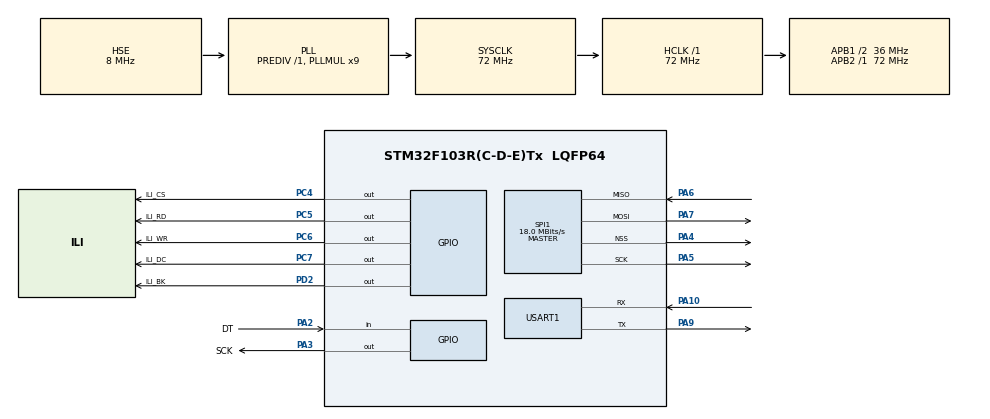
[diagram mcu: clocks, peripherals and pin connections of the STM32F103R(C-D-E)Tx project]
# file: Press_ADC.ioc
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Mcu.Family=STM32F1
Mcu.Name=STM32F103R(C-D-E)Tx
Mcu.Package=LQFP64
NVIC.PriorityGroup=NVIC_PRIORITYGROUP_4
PA10.Mode=Multiprocessor_communication
PA10.Signal=USART1_RX
PA13.Mode=Serial_Wire
PA13.Signal=SYS_JTMS-SWDIO
PA14.Mode=Serial_Wire
PA14.Signal=SYS_JTCK-SWCLK
PA2.GPIO_Label=DT
PA2.Signal=GPIO_Input
PA3.GPIO_Label=SCK
PA3.GPIO_PuPd=GPIO_PULLUP
PA3.GPIO_Speed=GPIO_SPEED_FREQ_HIGH
PA3.Signal=GPIO_Output
PA4.Mode=NSS_Signal_Hard_Output
PA4.Signal=SPI1_NSS
PA5.Mode=Full_Duplex_Master
PA5.Signal=SPI1_SCK
PA6.Mode=Full_Duplex_Master
PA6.Signal=SPI1_MISO
PA7.Mode=Full_Duplex_Master
PA7.Signal=SPI1_MOSI
PA9.Mode=Multiprocessor_communication
PA9.Signal=USART1_TX
PC4.GPIO_Label=ILI_CS
PC4.Signal=GPIO_Output
PC5.GPIO_Label=ILI_RD
PC5.Signal=GPIO_Output
PC6.GPIO_Label=ILI_WR
PC6.Signal=GPIO_Output
PC7.GPIO_Label=ILI_DC
PC7.Signal=GPIO_Output
PD0-OSC_IN.Mode=HSE-External-Oscillator
PD0-OSC_IN.Signal=RCC_OSC_IN
PD1-OSC_OUT.Mode=HSE-External-Oscillator
PD1-OSC_OUT.Signal=RCC_OSC_OUT
PD2.GPIO_Label=ILI_BK
PD2.Signal=GPIO_Output
ProjectManager.HeapSize=0x200
ProjectManager.StackSize=0x400
ProjectManager.TargetToolchain=STM32CubeIDE
RCC.AHBFreq_Value=72000000
RCC.APB1CLKDivider=RCC_HCLK_DIV2
RCC.APB1Freq_Value=36000000
RCC.APB1TimFreq_Value=72000000
RCC.APB2Freq_Value=72000000
RCC.APB2TimFreq_Value=72000000
RCC.HCLKFreq_Value=72000000
RCC.PLLMUL=RCC_PLL_MUL9
RCC.PLLSourceVirtual=RCC_PLLSOURCE_HSE
RCC.SYSCLKFreq_VALUE=72000000
RCC.SYSCLKSource=RCC_SYSCLKSOURCE_PLLCLK
RCC.USBFreq_Value=72000000
SPI1.BaudRatePrescaler=SPI_BAUDRATEPRESCALER_4
SPI1.CLKPhase=SPI_PHASE_2EDGE
SPI1.CLKPolarity=SPI_POLARITY_HIGH
SPI1.CalculateBaudRate=18.0 MBits/s
SPI1.Direction=SPI_DIRECTION_2LINES
SPI1.Mode=SPI_MODE_MASTER
SPI1.VirtualNSS=VM_NSSHARD
SPI1.VirtualType=VM_MASTER
TIM2.Prescaler=72-1
USART1.VirtualMode=VM_ASYNC
VP_TIM2_VS_ClockSourceINT.Mode=Internal
board=custom

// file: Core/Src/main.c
/* USER CODE BEGIN Header */
/**
  ******************************************************************************
  * @file           : main.c
  * @brief          : Main program body
  ******************************************************************************
  * @attention
  *
  * Copyright (c) 2023 STMicroelectronics.
  * All rights reserved.
  *
  * This software is licensed under terms that can be found in the LICENSE file
  * in the root directory of this software component.
  * If no LICENSE file comes with this software, it is provided AS-IS.
  *
  ******************************************************************************
  */
/* USER CODE END Header */
#include "main.h"
#include "spi.h"
#include "tim.h"
#include "usart.h"
#include "gpio.h"

/* USER CODE BEGIN Includes */
#include "stm32f1xx.h"
#include "bsp_debug_usart.h"
#include "bsp_led.h"
#include <stdio.h>
#include "bsp_ili9341_lcd.h"
#include "HX711.h"
#include "bsp_spi_flash.h"

/* USER CODE END Includes */

void SystemClock_Config(void);

/* USER CODE BEGIN 0 */
static void LCD_Test(void);
static void Delay ( __IO uint32_t nCount );
static uint32_t value;
static uint32_t i=0;
static char dispBuff[100];
extern uint32_t maopi;
extern uint32_t weight_zheng;
extern uint8_t weight_xiao;

void Printf_Charater(void)   ;

extern uint16_t lcdid;
/* USER CODE END 0 */

int main(void)
{

  /* MCU Configuration--------------------------------------------------------*/

  /* Reset of all peripherals, Initializes the Flash interface and the Systick. */
  HAL_Init();

  /* Configure the system clock */
  SystemClock_Config();

  /* Initialize all configured peripherals */
  MX_GPIO_Init();
  MX_SPI1_Init();
  MX_USART1_UART_Init();
  MX_TIM2_Init();
  /* USER CODE BEGIN 2 */
    LED_GPIO_Config();
    DEBUG_USART_Config();
    ILI9341_Init ();
    printf("\r\n ********** 液晶屏中文显示程序（任意大小??????*********** \r\n");
    printf("\r\n 若汉字显示不正常，请阅读工程中的readme.txt文件说明，根据要求给FLASH重刷字模数据\r\n");
    if(lcdid == LCDID_ILI9341)
    {
        ILI9341_GramScan ( 6 );
    }
    else if(lcdid == LCDID_ST7789V)
    {
        ILI9341_GramScan ( 0 );
    }

    Printf_Charater();

  /* USER CODE END 2 */

  /* Infinite loop */
  /* USER CODE BEGIN WHILE */
  while (1)
  {

      LCD_Test();
    /* USER CODE END WHILE */

  }
}

void SystemClock_Config(void)
{
  RCC_OscInitTypeDef RCC_OscInitStruct = {0};
  RCC_ClkInitTypeDef RCC_ClkInitStruct = {0};

  /** Initializes the RCC Oscillators according to the specified parameters
  * in the RCC_OscInitTypeDef structure.
  */
  RCC_OscInitStruct.OscillatorType = RCC_OSCILLATORTYPE_HSE;
  RCC_OscInitStruct.HSEState = RCC_HSE_ON;
  RCC_OscInitStruct.HSEPredivValue = RCC_HSE_PREDIV_DIV1;
  RCC_OscInitStruct.HSIState = RCC_HSI_ON;
  RCC_OscInitStruct.PLL.PLLState = RCC_PLL_ON;
  RCC_OscInitStruct.PLL.PLLSource = RCC_PLLSOURCE_HSE;
  RCC_OscInitStruct.PLL.PLLMUL = RCC_PLL_MUL9;
  if (HAL_RCC_OscConfig(&RCC_OscInitStruct) != HAL_OK)
  {
    Error_Handler();
  }

  /** Initializes the CPU, AHB and APB buses clocks
  */
  RCC_ClkInitStruct.ClockType = RCC_CLOCKTYPE_HCLK|RCC_CLOCKTYPE_SYSCLK
                              |RCC_CLOCKTYPE_PCLK1|RCC_CLOCKTYPE_PCLK2;
  RCC_ClkInitStruct.SYSCLKSource = RCC_SYSCLKSOURCE_PLLCLK;
  RCC_ClkInitStruct.AHBCLKDivider = RCC_SYSCLK_DIV1;
  RCC_ClkInitStruct.APB1CLKDivider = RCC_HCLK_DIV2;
  RCC_ClkInitStruct.APB2CLKDivider = RCC_HCLK_DIV1;

  if (HAL_RCC_ClockConfig(&RCC_ClkInitStruct, FLASH_LATENCY_2) != HAL_OK)
  {
    Error_Handler();
  }
}

/* USER CODE BEGIN 4 */
/*用于测试各种液晶的函?????*/
void LCD_Test(void)
{
    /*演示显示变量*/
    static uint8_t testCNT = 0;
    char dispBuff[100];

    testCNT++;

    LCD_SetFont(&Font8x16);
    LCD_SetColors(RED,BLACK);

    ILI9341_Clear(0,0,LCD_X_LENGTH,LCD_Y_LENGTH);	/* 清屏，显示全????? */
    /********显示字符串示?????*******/
    ILI9341_DispStringLine_EN_CH(LINE(0),"野火YH");
    //显示指定大小的字?????
    ILI9341_DisplayStringEx(0,1*24,24,24,(uint8_t *)"野火YH",0);
    ILI9341_DisplayStringEx(2*48,0*48,48,48,(uint8_t *)"野火YH",0);

    /********显示变量示例*******/
    LCD_SetTextColor(GREEN);

    /*使用c标准库把变量转化成字符串*/
    sprintf(dispBuff,"显示变量????? %d ",testCNT);
    LCD_ClearLine(LINE(5));	/* 清除单行文字 */

    /*然后显示该字符串即可，其它变量也是这样处?????*/
    ILI9341_DispStringLine_EN_CH(LINE(5),dispBuff);

    /*******显示图形示例******/
    /* 画直????? */

    LCD_ClearLine(LINE(7));/* 清除单行文字 */
    LCD_SetTextColor(BLUE);

    ILI9341_DispStringLine_EN_CH(LINE(7),"画直线：");

    LCD_SetTextColor(RED);
    ILI9341_DrawLine(50,170,210,230);
    ILI9341_DrawLine(50,200,210,240);

    LCD_SetTextColor(GREEN);
    ILI9341_DrawLine(100,170,200,230);
    ILI9341_DrawLine(200,200,220,240);

    LCD_SetTextColor(BLUE);
    ILI9341_DrawLine(110,170,110,230);
    ILI9341_DrawLine(130,200,220,240);

    Delay(0xFFFFFF);

    ILI9341_Clear(0,16*8,LCD_X_LENGTH,LCD_Y_LENGTH-16*8);	/* 清屏，显示全????? */

    /*画矩?????*/

    LCD_ClearLine(LINE(7));	/* 清除单行文字 */
    LCD_SetTextColor(BLUE);

    ILI9341_DispStringLine_EN_CH(LINE(7),"画矩形：");

    LCD_SetTextColor(RED);
    ILI9341_DrawRectangle(50,200,100,30,1);

    LCD_SetTextColor(GREEN);
    ILI9341_DrawRectangle(160,200,20,40,0);

    LCD_SetTextColor(BLUE);
    ILI9341_DrawRectangle(170,200,50,20,1);

    Delay(0xFFFFFF);

    ILI9341_Clear(0,16*8,LCD_X_LENGTH,LCD_Y_LENGTH-16*8);	/* 清屏，显示全????? */

    /* 画圆 */
    LCD_ClearLine(LINE(7));	/* 清除单行文字 */
    LCD_SetTextColor(BLUE);

    ILI9341_DispStringLine_EN_CH(LINE(7),"画圆");

    LCD_SetTextColor(RED);
    ILI9341_DrawCircle(100,200,20,0);

    LCD_SetTextColor(GREEN);
    ILI9341_DrawCircle(100,200,10,1);

    LCD_SetTextColor(BLUE);
    ILI9341_DrawCircle(140,200,20,0);

    Delay(0xFFFFFF);

    ILI9341_Clear(0,16*8,LCD_X_LENGTH,LCD_Y_LENGTH-16*8);	/* 清屏，显示全????? */

}

/**
  * @brief  ?????单延时函?????
  * @param  nCount ：延时计数???
  * @retval ?????
  */
static void Delay ( __IO uint32_t nCount )
{
    for ( ; nCount != 0; nCount -- );

}

/*"?????"字符的字?????16x16 */
unsigned char charater_matrix[] =
        { /*"?????",0*/
                0x01,0x00,0x21,0x08,0x11,0x08,0x09,0x10,0x09,0x20,0x01,0x00,0x7F,0xF8,0x00,	0x08,
                0x00,0x08,0x00,0x08,0x3F,0xF8,0x00,0x08,0x00,0x08,0x00,0x08,0x7F,0xF8,0x00,0x08,

        };
void Printf_Charater(void)
{
    int i,j;
    unsigned char kk;

    /*i用作行计?????*/
    for ( i=0;i<16;i++)
    {
        /*j用作?????字节内数据的移位计数*/
        /*?????行像素的第一个字?????*/
        for(j=0; j<8; j++)
        {
            /*?????个数据位?????个数据位地处?????*/
            kk = charater_matrix[2*i] << j ;  //左移J?????
            if( kk & 0x80)
            {
                printf("*"); //如果?????高位?????1，输?????*号，表示笔迹
            }
            else
            {
                printf(" "); //如果?????高位?????0，输出空格，表示空白
            }
        }
        /*?????行像素的第二个字?????*/
        for(j=0; j<8; j++)
        {
            kk = charater_matrix[2*i+1] << j ;  //左移J?????

            if( kk & 0x80)
            {
                printf("*"); //如果?????高位?????1，输?????*号，表示笔迹
            }
            else
            {
                printf(" "); //如果?????高位?????0，输出空格，表示空白
            }
        }
        printf("\n");    //输出完一行像素，换行
    }
    printf("\n\n"); 		//?????个字输出完毕
}

/* USER CODE END 4 */

void Error_Handler(void)
{
  __disable_irq();
  while (1)
  {
  }
}
